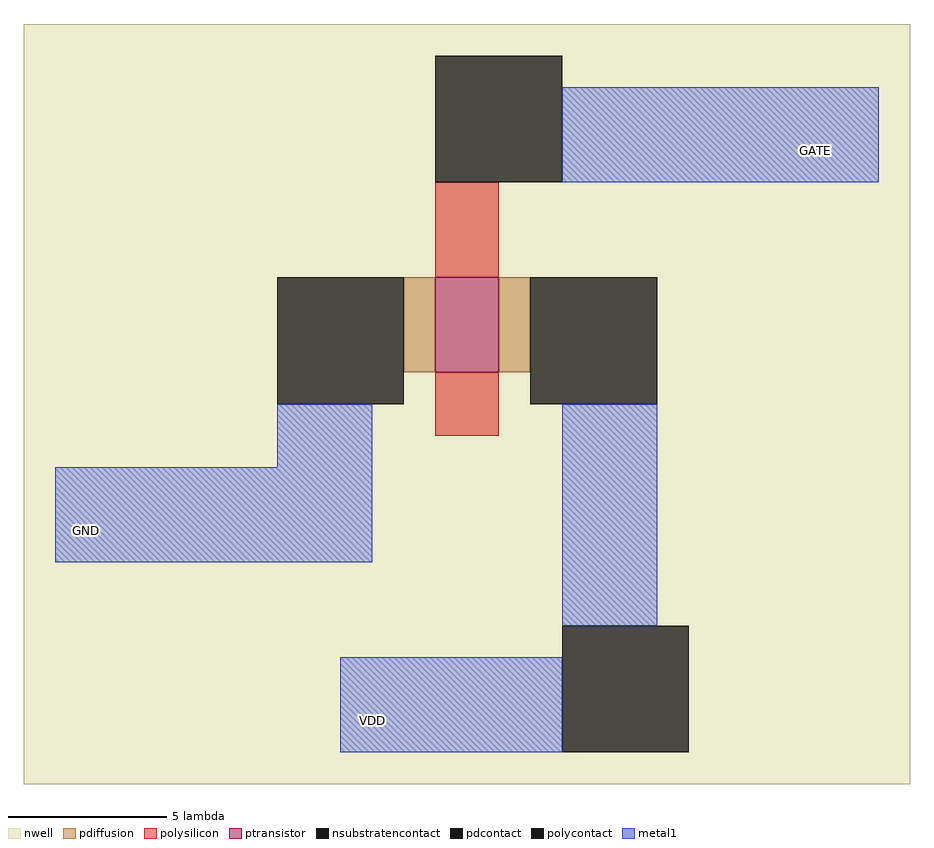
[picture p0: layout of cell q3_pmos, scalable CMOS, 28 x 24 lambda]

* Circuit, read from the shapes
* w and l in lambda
.subckt q3_pmos GATE GND VDD
M1 VDD GATE GND VDD pfet w=3 l=2
.ends

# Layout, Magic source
magic
tech scmos
<< nwell >>
rect -19 -13 9 11
<< polysilicon >>
rect -6 3 -4 6
rect -6 -2 -4 0
<< pdiffusion >>
rect -7 0 -6 3
rect -4 0 -3 3
<< metal1 >>
rect -2 6 8 9
rect -11 -3 -8 -1
rect -18 -6 -8 -3
rect -2 -8 1 -1
rect -9 -12 -2 -9
<< ptransistor >>
rect -6 0 -4 3
<< polycontact >>
rect -6 6 -2 10
<< pdcontact >>
rect -11 -1 -7 3
rect -3 -1 1 3
<< nsubstratencontact >>
rect -2 -12 2 -8
<< labels >>
rlabel metal1 -8 -11 -8 -11 1 VDD
rlabel metal1 -17 -5 -17 -5 3 GND
rlabel metal1 6 7 6 7 6 GATE
<< end >>
